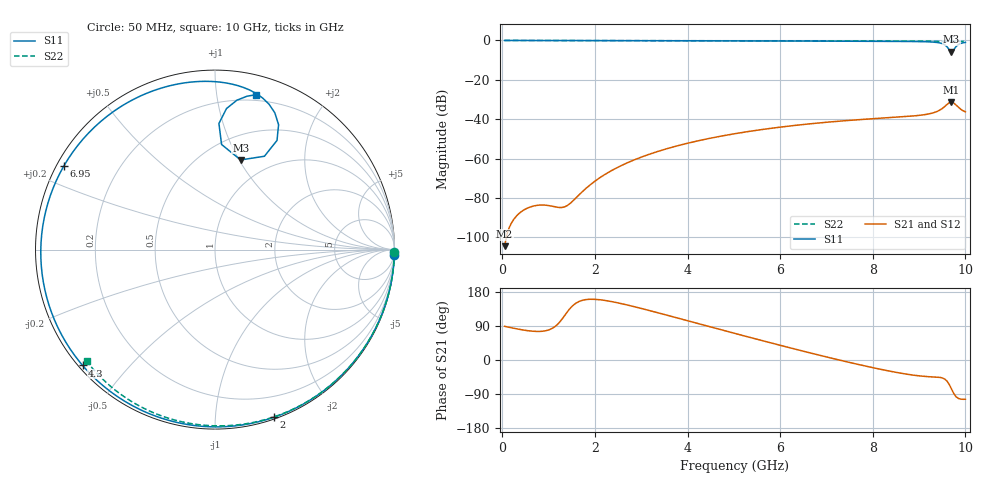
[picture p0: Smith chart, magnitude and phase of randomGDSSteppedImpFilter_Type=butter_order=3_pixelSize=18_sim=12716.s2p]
! freq	dB(S11)	phase(S11)	dB(S12)	phase(S12)
!  dB(S21)	phase(S21)	dB(S22)	phase(S22)
!S-par simulation data
#  GHz  S  DB  R 50
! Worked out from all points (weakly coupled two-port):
!   200 points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, 50 MHz to 10 GHz, reference 50 ohm
!   highest |S21| = -31.27 dB at 9.7 GHz (marker M1); lowest = -104.4 dB at 50 MHz (marker M2)
!   lowest |S11| = -5.7 dB at 9.7 GHz (marker M3), VSWR 3.16, Z = 37.1 + j50.8 ohm
!   |S11| at or under -10 dB: nowhere
!   |S22| runs from -0.5 to 0.0 dB; largest |S21 - S12| = 0
!   S11 on the Smith chart (normalised r, x): 50 MHz: 0, -61; 2 GHz: 0.01, -1.41; 4.3 GHz: 0.01, -0.38; 6.95 GHz: 0.02, +0.26; 10 GHz: 0.15, +1.29
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0.05  -0.00 -1.9  -104.42 88.9  -104.42 88.9  -0.00 -0.8
0.75  -0.04 -27.5  -83.71 75.4  -83.71 75.4  -0.02 -12.0
1.55  -0.07 -55.6  -80.88 146.4  -80.88 146.4  -0.03 -24.6
1.75  -0.08 -62.4  -76.30 158.1  -76.30 158.1  -0.04 -27.7
2  -0.09 -70.7  -71.44 160.1  -71.44 160.1  -0.04 -31.6
2.6  -0.11 -89.8  -63.18 148.0  -63.18 148.0  -0.05 -40.8
3.4  -0.14 -113.7  -56.03 123.4  -56.03 123.4  -0.07 -52.7
4.3  -0.17 -138.8  -50.57 93.8  -50.57 93.8  -0.09 -65.7
5.05  -0.21 -158.8  -47.22 69.2  -47.22 69.2  -0.12 -76.2
5.9  -0.26 178.9  -44.30 41.9  -44.30 41.9  -0.15 -87.7
6.7  -0.32 157.8  -42.18 17.1  -42.18 17.1  -0.19 -98.1
6.95  -0.33 151.0  -41.63 9.6  -41.63 9.6  -0.20 -101.3
8.35  -0.45 111.1  -39.20 -29.0  -39.20 -29.0  -0.30 -118.8
8.9  -0.55 93.4  -38.27 -40.4  -38.27 -40.4  -0.35 -125.5
9.3  -0.82 77.7  -36.77 -44.6  -36.77 -44.6  -0.39 -130.4
9.55  -2.15 63.0  -33.62 -50.0  -33.62 -50.0  -0.42 -133.4
9.65  -4.61 62.1  -31.63 -64.3  -31.63 -64.3  -0.43 -134.6
9.7  -5.69 74.0  -31.27 -76.6  -31.27 -76.6  -0.43 -135.2
9.75  -4.63 86.4  -31.77 -88.7  -31.77 -88.7  -0.44 -135.8
9.8  -3.06 88.2  -32.83 -97.1  -32.83 -97.1  -0.44 -136.4
9.9  -1.50 81.7  -34.93 -103.3  -34.93 -103.3  -0.46 -137.7
10  -0.98 75.1  -36.24 -103.5  -36.24 -103.5  -0.47 -138.9
